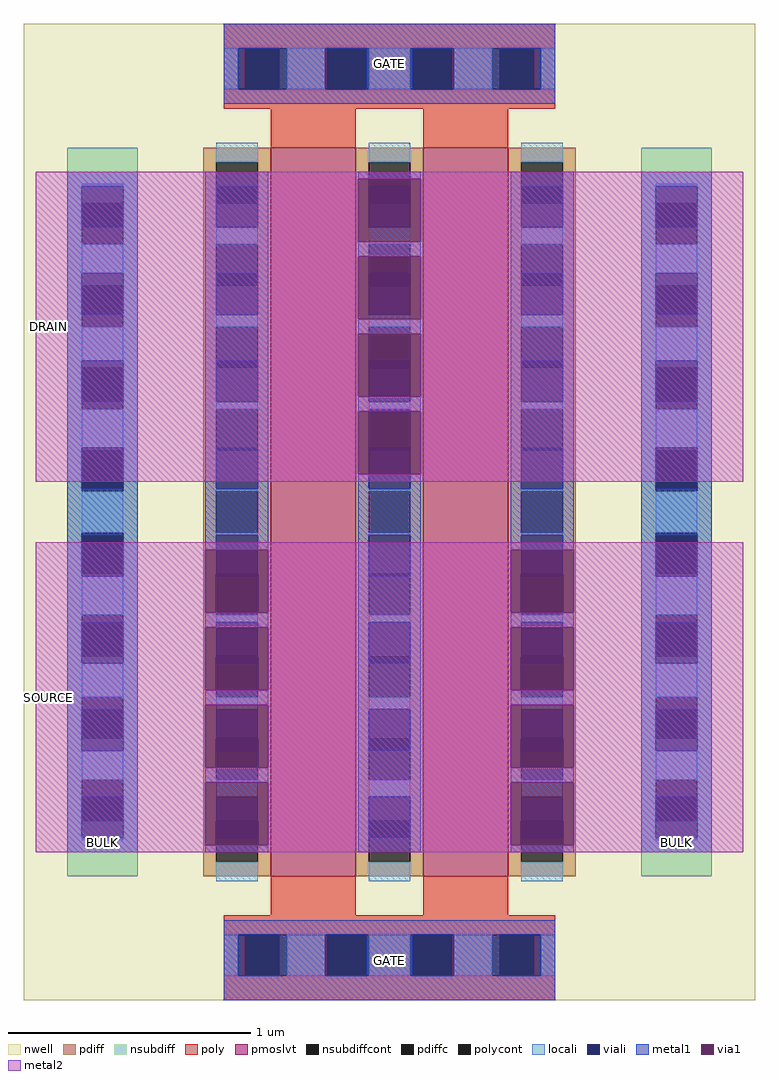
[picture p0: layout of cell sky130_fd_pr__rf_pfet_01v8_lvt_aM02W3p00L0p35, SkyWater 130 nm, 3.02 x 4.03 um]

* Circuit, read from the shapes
.subckt sky130_fd_pr__rf_pfet_01v8_lvt_aM02W3p00L0p35 BULK DRAIN GATE SOURCE
XM1 DRAIN GATE SOURCE BULK sky130_fd_pr__pfet_01v8_lvt w=3.01 l=0.35 m=2
.ends

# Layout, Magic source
magic
tech sky130A
magscale 1 2
<< nwell >>
rect 0 0 604 806
<< pmoslvt >>
rect 204 102 274 704
rect 330 102 400 704
<< pdiff >>
rect 148 692 204 704
rect 148 658 159 692
rect 193 658 204 692
rect 148 624 204 658
rect 148 590 159 624
rect 193 590 204 624
rect 148 556 204 590
rect 148 522 159 556
rect 193 522 204 556
rect 148 488 204 522
rect 148 454 159 488
rect 193 454 204 488
rect 148 420 204 454
rect 148 386 159 420
rect 193 386 204 420
rect 148 352 204 386
rect 148 318 159 352
rect 193 318 204 352
rect 148 284 204 318
rect 148 250 159 284
rect 193 250 204 284
rect 148 216 204 250
rect 148 182 159 216
rect 193 182 204 216
rect 148 148 204 182
rect 148 114 159 148
rect 193 114 204 148
rect 148 102 204 114
rect 274 692 330 704
rect 274 658 285 692
rect 319 658 330 692
rect 274 624 330 658
rect 274 590 285 624
rect 319 590 330 624
rect 274 556 330 590
rect 274 522 285 556
rect 319 522 330 556
rect 274 488 330 522
rect 274 454 285 488
rect 319 454 330 488
rect 274 420 330 454
rect 274 386 285 420
rect 319 386 330 420
rect 274 352 330 386
rect 274 318 285 352
rect 319 318 330 352
rect 274 284 330 318
rect 274 250 285 284
rect 319 250 330 284
rect 274 216 330 250
rect 274 182 285 216
rect 319 182 330 216
rect 274 148 330 182
rect 274 114 285 148
rect 319 114 330 148
rect 274 102 330 114
rect 400 692 456 704
rect 400 658 411 692
rect 445 658 456 692
rect 400 624 456 658
rect 400 590 411 624
rect 445 590 456 624
rect 400 556 456 590
rect 400 522 411 556
rect 445 522 456 556
rect 400 488 456 522
rect 400 454 411 488
rect 445 454 456 488
rect 400 420 456 454
rect 400 386 411 420
rect 445 386 456 420
rect 400 352 456 386
rect 400 318 411 352
rect 445 318 456 352
rect 400 284 456 318
rect 400 250 411 284
rect 445 250 456 284
rect 400 216 456 250
rect 400 182 411 216
rect 445 182 456 216
rect 400 148 456 182
rect 400 114 411 148
rect 445 114 456 148
rect 400 102 456 114
<< pdiffc >>
rect 159 658 193 692
rect 159 590 193 624
rect 159 522 193 556
rect 159 454 193 488
rect 159 386 193 420
rect 159 318 193 352
rect 159 250 193 284
rect 159 182 193 216
rect 159 114 193 148
rect 285 658 319 692
rect 285 590 319 624
rect 285 522 319 556
rect 285 454 319 488
rect 285 386 319 420
rect 285 318 319 352
rect 285 250 319 284
rect 285 182 319 216
rect 285 114 319 148
rect 411 658 445 692
rect 411 590 445 624
rect 411 522 445 556
rect 411 454 445 488
rect 411 386 445 420
rect 411 318 445 352
rect 411 250 445 284
rect 411 182 445 216
rect 411 114 445 148
<< nsubdiff >>
rect 36 658 94 704
rect 36 624 48 658
rect 82 624 94 658
rect 36 590 94 624
rect 36 556 48 590
rect 82 556 94 590
rect 36 522 94 556
rect 36 488 48 522
rect 82 488 94 522
rect 36 454 94 488
rect 36 420 48 454
rect 82 420 94 454
rect 36 386 94 420
rect 36 352 48 386
rect 82 352 94 386
rect 36 318 94 352
rect 36 284 48 318
rect 82 284 94 318
rect 36 250 94 284
rect 36 216 48 250
rect 82 216 94 250
rect 36 182 94 216
rect 36 148 48 182
rect 82 148 94 182
rect 36 102 94 148
rect 510 658 568 704
rect 510 624 522 658
rect 556 624 568 658
rect 510 590 568 624
rect 510 556 522 590
rect 556 556 568 590
rect 510 522 568 556
rect 510 488 522 522
rect 556 488 568 522
rect 510 454 568 488
rect 510 420 522 454
rect 556 420 568 454
rect 510 386 568 420
rect 510 352 522 386
rect 556 352 568 386
rect 510 318 568 352
rect 510 284 522 318
rect 556 284 568 318
rect 510 250 568 284
rect 510 216 522 250
rect 556 216 568 250
rect 510 182 568 216
rect 510 148 522 182
rect 556 148 568 182
rect 510 102 568 148
<< nsubdiffcont >>
rect 48 624 82 658
rect 48 556 82 590
rect 48 488 82 522
rect 48 420 82 454
rect 48 352 82 386
rect 48 284 82 318
rect 48 216 82 250
rect 48 148 82 182
rect 522 624 556 658
rect 522 556 556 590
rect 522 488 556 522
rect 522 420 556 454
rect 522 352 556 386
rect 522 284 556 318
rect 522 216 556 250
rect 522 148 556 182
<< poly >>
rect 165 786 439 806
rect 165 752 183 786
rect 217 752 251 786
rect 285 752 319 786
rect 353 752 387 786
rect 421 752 439 786
rect 165 736 439 752
rect 204 704 274 736
rect 330 704 400 736
rect 204 70 274 102
rect 330 70 400 102
rect 165 54 439 70
rect 165 20 183 54
rect 217 20 251 54
rect 285 20 319 54
rect 353 20 387 54
rect 421 20 439 54
rect 165 0 439 20
<< polycont >>
rect 183 752 217 786
rect 251 752 285 786
rect 319 752 353 786
rect 387 752 421 786
rect 183 20 217 54
rect 251 20 285 54
rect 319 20 353 54
rect 387 20 421 54
<< locali >>
rect 165 752 177 786
rect 217 752 249 786
rect 285 752 319 786
rect 355 752 387 786
rect 427 752 439 786
rect 159 692 193 708
rect 48 672 82 674
rect 48 600 82 624
rect 48 528 82 556
rect 48 456 82 488
rect 48 386 82 420
rect 48 318 82 350
rect 48 250 82 278
rect 48 182 82 206
rect 48 132 82 134
rect 159 624 193 638
rect 159 556 193 566
rect 159 488 193 494
rect 159 420 193 422
rect 159 384 193 386
rect 159 312 193 318
rect 159 240 193 250
rect 159 168 193 182
rect 159 98 193 114
rect 285 692 319 708
rect 285 624 319 638
rect 285 556 319 566
rect 285 488 319 494
rect 285 420 319 422
rect 285 384 319 386
rect 285 312 319 318
rect 285 240 319 250
rect 285 168 319 182
rect 285 98 319 114
rect 411 692 445 708
rect 411 624 445 638
rect 411 556 445 566
rect 411 488 445 494
rect 411 420 445 422
rect 411 384 445 386
rect 411 312 445 318
rect 411 240 445 250
rect 411 168 445 182
rect 522 672 556 674
rect 522 600 556 624
rect 522 528 556 556
rect 522 456 556 488
rect 522 386 556 420
rect 522 318 556 350
rect 522 250 556 278
rect 522 182 556 206
rect 522 132 556 134
rect 411 98 445 114
rect 165 20 177 54
rect 217 20 249 54
rect 285 20 319 54
rect 355 20 387 54
rect 427 20 439 54
<< viali >>
rect 177 752 183 786
rect 183 752 211 786
rect 249 752 251 786
rect 251 752 283 786
rect 321 752 353 786
rect 353 752 355 786
rect 393 752 421 786
rect 421 752 427 786
rect 48 658 82 672
rect 48 638 82 658
rect 48 590 82 600
rect 48 566 82 590
rect 48 522 82 528
rect 48 494 82 522
rect 48 454 82 456
rect 48 422 82 454
rect 48 352 82 384
rect 48 350 82 352
rect 48 284 82 312
rect 48 278 82 284
rect 48 216 82 240
rect 48 206 82 216
rect 48 148 82 168
rect 48 134 82 148
rect 159 658 193 672
rect 159 638 193 658
rect 159 590 193 600
rect 159 566 193 590
rect 159 522 193 528
rect 159 494 193 522
rect 159 454 193 456
rect 159 422 193 454
rect 159 352 193 384
rect 159 350 193 352
rect 159 284 193 312
rect 159 278 193 284
rect 159 216 193 240
rect 159 206 193 216
rect 159 148 193 168
rect 159 134 193 148
rect 285 658 319 672
rect 285 638 319 658
rect 285 590 319 600
rect 285 566 319 590
rect 285 522 319 528
rect 285 494 319 522
rect 285 454 319 456
rect 285 422 319 454
rect 285 352 319 384
rect 285 350 319 352
rect 285 284 319 312
rect 285 278 319 284
rect 285 216 319 240
rect 285 206 319 216
rect 285 148 319 168
rect 285 134 319 148
rect 411 658 445 672
rect 411 638 445 658
rect 411 590 445 600
rect 411 566 445 590
rect 411 522 445 528
rect 411 494 445 522
rect 411 454 445 456
rect 411 422 445 454
rect 411 352 445 384
rect 411 350 445 352
rect 411 284 445 312
rect 411 278 445 284
rect 411 216 445 240
rect 411 206 445 216
rect 411 148 445 168
rect 411 134 445 148
rect 522 658 556 672
rect 522 638 556 658
rect 522 590 556 600
rect 522 566 556 590
rect 522 522 556 528
rect 522 494 556 522
rect 522 454 556 456
rect 522 422 556 454
rect 522 352 556 384
rect 522 350 556 352
rect 522 284 556 312
rect 522 278 556 284
rect 522 216 556 240
rect 522 206 556 216
rect 522 148 556 168
rect 522 134 556 148
rect 177 20 183 54
rect 183 20 211 54
rect 249 20 251 54
rect 251 20 283 54
rect 321 20 353 54
rect 353 20 355 54
rect 393 20 421 54
rect 421 20 427 54
<< metal1 >>
rect 165 786 439 806
rect 165 752 177 786
rect 211 752 249 786
rect 283 752 321 786
rect 355 752 393 786
rect 427 752 439 786
rect 165 740 439 752
rect 36 672 94 684
rect 36 638 48 672
rect 82 638 94 672
rect 36 600 94 638
rect 36 566 48 600
rect 82 566 94 600
rect 36 528 94 566
rect 36 494 48 528
rect 82 494 94 528
rect 36 456 94 494
rect 36 422 48 456
rect 82 422 94 456
rect 36 384 94 422
rect 36 350 48 384
rect 82 350 94 384
rect 36 312 94 350
rect 36 278 48 312
rect 82 278 94 312
rect 36 240 94 278
rect 36 206 48 240
rect 82 206 94 240
rect 36 168 94 206
rect 36 134 48 168
rect 82 134 94 168
rect 36 122 94 134
rect 150 672 202 684
rect 150 638 159 672
rect 193 638 202 672
rect 150 600 202 638
rect 150 566 159 600
rect 193 566 202 600
rect 150 528 202 566
rect 150 494 159 528
rect 193 494 202 528
rect 150 456 202 494
rect 150 422 159 456
rect 193 422 202 456
rect 150 384 202 422
rect 150 372 159 384
rect 193 372 202 384
rect 150 312 202 320
rect 150 308 159 312
rect 193 308 202 312
rect 150 244 202 256
rect 150 180 202 192
rect 150 122 202 128
rect 276 678 328 684
rect 276 614 328 626
rect 276 550 328 562
rect 276 494 285 498
rect 319 494 328 498
rect 276 486 328 494
rect 276 422 285 434
rect 319 422 328 434
rect 276 384 328 422
rect 276 350 285 384
rect 319 350 328 384
rect 276 312 328 350
rect 276 278 285 312
rect 319 278 328 312
rect 276 240 328 278
rect 276 206 285 240
rect 319 206 328 240
rect 276 168 328 206
rect 276 134 285 168
rect 319 134 328 168
rect 276 122 328 134
rect 402 672 454 684
rect 402 638 411 672
rect 445 638 454 672
rect 402 600 454 638
rect 402 566 411 600
rect 445 566 454 600
rect 402 528 454 566
rect 402 494 411 528
rect 445 494 454 528
rect 402 456 454 494
rect 402 422 411 456
rect 445 422 454 456
rect 402 384 454 422
rect 402 372 411 384
rect 445 372 454 384
rect 402 312 454 320
rect 402 308 411 312
rect 445 308 454 312
rect 402 244 454 256
rect 402 180 454 192
rect 402 122 454 128
rect 510 672 568 684
rect 510 638 522 672
rect 556 638 568 672
rect 510 600 568 638
rect 510 566 522 600
rect 556 566 568 600
rect 510 528 568 566
rect 510 494 522 528
rect 556 494 568 528
rect 510 456 568 494
rect 510 422 522 456
rect 556 422 568 456
rect 510 384 568 422
rect 510 350 522 384
rect 556 350 568 384
rect 510 312 568 350
rect 510 278 522 312
rect 556 278 568 312
rect 510 240 568 278
rect 510 206 522 240
rect 556 206 568 240
rect 510 168 568 206
rect 510 134 522 168
rect 556 134 568 168
rect 510 122 568 134
rect 165 54 439 66
rect 165 20 177 54
rect 211 20 249 54
rect 283 20 321 54
rect 355 20 393 54
rect 427 20 439 54
rect 165 0 439 20
<< via1 >>
rect 150 350 159 372
rect 159 350 193 372
rect 193 350 202 372
rect 150 320 202 350
rect 150 278 159 308
rect 159 278 193 308
rect 193 278 202 308
rect 150 256 202 278
rect 150 240 202 244
rect 150 206 159 240
rect 159 206 193 240
rect 193 206 202 240
rect 150 192 202 206
rect 150 168 202 180
rect 150 134 159 168
rect 159 134 193 168
rect 193 134 202 168
rect 150 128 202 134
rect 276 672 328 678
rect 276 638 285 672
rect 285 638 319 672
rect 319 638 328 672
rect 276 626 328 638
rect 276 600 328 614
rect 276 566 285 600
rect 285 566 319 600
rect 319 566 328 600
rect 276 562 328 566
rect 276 528 328 550
rect 276 498 285 528
rect 285 498 319 528
rect 319 498 328 528
rect 276 456 328 486
rect 276 434 285 456
rect 285 434 319 456
rect 319 434 328 456
rect 402 350 411 372
rect 411 350 445 372
rect 445 350 454 372
rect 402 320 454 350
rect 402 278 411 308
rect 411 278 445 308
rect 445 278 454 308
rect 402 256 454 278
rect 402 240 454 244
rect 402 206 411 240
rect 411 206 445 240
rect 445 206 454 240
rect 402 192 454 206
rect 402 168 454 180
rect 402 134 411 168
rect 411 134 445 168
rect 445 134 454 168
rect 402 128 454 134
<< metal2 >>
rect 10 678 594 684
rect 10 626 276 678
rect 328 626 594 678
rect 10 614 594 626
rect 10 562 276 614
rect 328 562 594 614
rect 10 550 594 562
rect 10 498 276 550
rect 328 498 594 550
rect 10 486 594 498
rect 10 434 276 486
rect 328 434 594 486
rect 10 428 594 434
rect 10 372 594 378
rect 10 320 150 372
rect 202 320 402 372
rect 454 320 594 372
rect 10 308 594 320
rect 10 256 150 308
rect 202 256 402 308
rect 454 256 594 308
rect 10 244 594 256
rect 10 192 150 244
rect 202 192 402 244
rect 454 192 594 244
rect 10 180 594 192
rect 10 128 150 180
rect 202 128 402 180
rect 454 128 594 180
rect 10 122 594 128
<< labels >>
flabel metal2 s 10 122 30 378 7 FreeSans 300 180 0 0 SOURCE
port 4 nsew
flabel metal2 s 10 428 30 684 7 FreeSans 300 180 0 0 DRAIN
port 2 nsew
flabel metal1 s 165 0 439 66 0 FreeSans 300 0 0 0 GATE
port 3 nsew
flabel metal1 s 165 740 439 806 0 FreeSans 300 0 0 0 GATE
port 3 nsew
flabel metal1 s 510 122 568 138 3 FreeSans 300 90 0 0 BULK
port 1 nsew
flabel metal1 s 36 122 94 138 3 FreeSans 300 90 0 0 BULK
port 1 nsew
<< properties >>
string GDS_FILE $PDKPATH/libs.ref/sky130_fd_pr/gds/sky130_fd_pr.gds
string GDS_END 9946028
string GDS_START 9934920
<< end >>
